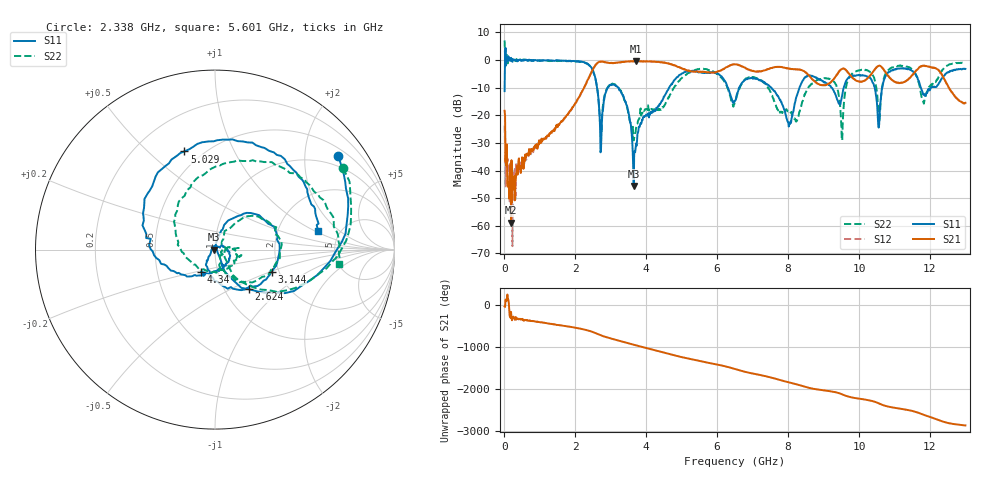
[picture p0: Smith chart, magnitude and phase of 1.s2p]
#  HZ  S  DB  R  50.00
! Rohde & Schwarz ZVA24 2Ports - Version 3.90 - 1145.1110k24 SN: 100222
! Date: 2019-05-03 14:58:19
! Measurements: S11 S21 S12 S22
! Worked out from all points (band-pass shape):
!   1000 points, 10 MHz to 13 GHz, reference 50 ohm
!   highest |S21| = -0.44 dB at 3.716 GHz (marker M1); lowest = -58.8 dB at 192 MHz (marker M2)
!   |S21| within 3 dB of the highest: 2.499 GHz to 5.09 GHz (2.591 GHz wide, 68.3 % of centre); 7.411 GHz to 8.26 GHz (848.4 MHz wide, 10.8 % of centre)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
!   lowest |S11| = -45.6 dB at 3.651 GHz (marker M3), VSWR 1.01, Z = 49.5 + j0.0166 ohm
!   |S11| at or under -10 dB: 3.214 GHz to 4.652 GHz (1.439 GHz wide, 36.6 % of centre); 7.522 GHz to 8.323 GHz (801.6 MHz wide, 10.1 % of centre); 9.221 GHz to 9.571 GHz (349.9 MHz wide, 3.72 % of centre)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
!   |S22| runs from -29.1 to 7.0 dB; largest |S21 - S12| = 0.17
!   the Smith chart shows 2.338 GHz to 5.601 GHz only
!   S11 on the Smith chart (normalised r, x): 2.338 GHz: 0.70, +2.82; 2.624 GHz: 1.29, -0.62; 3.144 GHz: 1.83, -0.51; 4.34 GHz: 0.83, -0.21; 5.029 GHz: 0.40, +0.66; 5.601 GHz: 3.43, +1.10
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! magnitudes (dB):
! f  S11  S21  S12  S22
! 10 MHz  -11.3  -18.4  -23.8  7.0
! 192 MHz  0.8  -58.8  -47.4  -0.4
! 2.182 GHz  -0.7  -11.7  -11.8  -0.7
! 2.338 GHz  -1.3  -7.6  -7.8  -1.5
! 2.624 GHz  -10.8  -1.2  -1.2  -10.4
! 2.741 GHz  -26.4  -0.6  -0.7  -26.2
! 3.144 GHz  -9.4  -1.0  -1.1  -9.2
! 3.651 GHz  -45.6  -0.5  -0.6  -29.1
! 3.716 GHz  -30.2  -0.4  -0.5  -24.5
! 4.34 GHz  -16.7  -0.8  -0.8  -18.1
! 5.029 GHz  -4.8  -3.2  -3.2  -6.3
! 5.601 GHz  -4.7  -4.3  -4.3  -3.2
! 6.512 GHz  -14.7  -1.6  -1.6  -14.9
! 7.188 GHz  -7.4  -4.1  -4.2  -6.9
! 8.033 GHz  -23.5  -3.2  -3.1  -18.6
! 8.67 GHz  -5.8  -6.9  -6.8  -8.7
! 9.515 GHz  -13.4  -3.3  -3.3  -28.7
! 10.24 GHz  -6.0  -6.6  -6.6  -3.9
! 10.56 GHz  -24.5  -2.2  -2.2  -20.7
! 10.84 GHz  -4.4  -6.0  -6.0  -3.6
! 11.82 GHz  -12.6  -2.1  -2.1  -15.3
! 13 GHz  -3.2  -15.5  -15.7  -1.0
